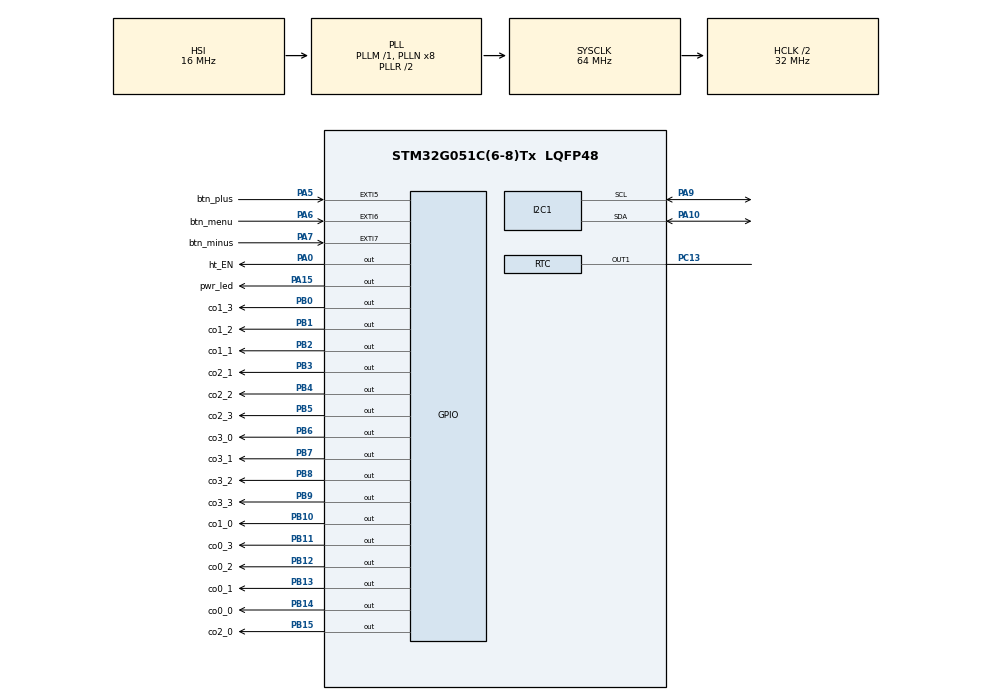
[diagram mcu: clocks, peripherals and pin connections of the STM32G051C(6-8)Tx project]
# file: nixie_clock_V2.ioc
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I2C1.Timing=0x00B07CB4
Mcu.Family=STM32G0
Mcu.Name=STM32G051C(6-8)Tx
Mcu.Package=LQFP48
NVIC.EXTI4_15_IRQn=true\:0\:0\:false\:false\:true\:true\:true\:true
NVIC.RTC_TAMP_IRQn=true\:0\:0\:false\:false\:true\:true\:true\:true
PA0.GPIO_Label=ht_EN
PA0.Signal=GPIO_Output
PA10.Mode=I2C
PA10.Signal=I2C1_SDA
PA15.GPIO_Label=pwr_led
PA15.PinState=GPIO_PIN_SET
PA15.Signal=GPIO_Output
PA5.GPIO_Label=btn_plus
PA5.GPIO_ModeDefaultEXTI=GPIO_MODE_IT_FALLING
PA5.Signal=GPXTI5
PA6.GPIO_Label=btn_menu
PA6.GPIO_ModeDefaultEXTI=GPIO_MODE_IT_FALLING
PA6.Signal=GPXTI6
PA7.GPIO_Label=btn_minus
PA7.GPIO_ModeDefaultEXTI=GPIO_MODE_IT_FALLING
PA7.Signal=GPXTI7
PA9.Mode=I2C
PA9.Signal=I2C1_SCL
PB0.GPIO_Label=co1_3
PB0.GPIO_ModeDefaultOutputPP=GPIO_MODE_OUTPUT_PP
PB0.GPIO_PuPd=GPIO_NOPULL
PB0.GPIO_Speed=GPIO_SPEED_FREQ_LOW
PB0.PinState=GPIO_PIN_RESET
PB0.Signal=GPIO_Output
PB1.GPIO_Label=co1_2
PB1.GPIO_ModeDefaultOutputPP=GPIO_MODE_OUTPUT_PP
PB1.GPIO_PuPd=GPIO_NOPULL
PB1.GPIO_Speed=GPIO_SPEED_FREQ_LOW
PB1.PinState=GPIO_PIN_RESET
PB1.Signal=GPIO_Output
PB10.GPIO_Label=co1_0
PB10.GPIO_ModeDefaultOutputPP=GPIO_MODE_OUTPUT_PP
PB10.GPIO_PuPd=GPIO_NOPULL
PB10.GPIO_Speed=GPIO_SPEED_FREQ_LOW
PB10.PinState=GPIO_PIN_RESET
PB10.Signal=GPIO_Output
PB11.GPIO_Label=co0_3
PB11.GPIO_ModeDefaultOutputPP=GPIO_MODE_OUTPUT_PP
PB11.GPIO_PuPd=GPIO_NOPULL
PB11.GPIO_Speed=GPIO_SPEED_FREQ_LOW
PB11.PinState=GPIO_PIN_RESET
PB11.Signal=GPIO_Output
PB12.GPIO_Label=co0_2
PB12.GPIO_ModeDefaultOutputPP=GPIO_MODE_OUTPUT_PP
PB12.GPIO_PuPd=GPIO_NOPULL
PB12.GPIO_Speed=GPIO_SPEED_FREQ_LOW
PB12.PinState=GPIO_PIN_RESET
PB12.Signal=GPIO_Output
PB13.GPIO_Label=co0_1
PB13.GPIO_ModeDefaultOutputPP=GPIO_MODE_OUTPUT_PP
PB13.GPIO_PuPd=GPIO_NOPULL
PB13.GPIO_Speed=GPIO_SPEED_FREQ_LOW
PB13.PinState=GPIO_PIN_RESET
PB13.Signal=GPIO_Output
PB14.GPIO_Label=co0_0
PB14.GPIO_ModeDefaultOutputPP=GPIO_MODE_OUTPUT_PP
PB14.GPIO_PuPd=GPIO_NOPULL
PB14.GPIO_Speed=GPIO_SPEED_FREQ_LOW
PB14.PinState=GPIO_PIN_RESET
PB14.Signal=GPIO_Output
PB15.GPIO_Label=co2_0
PB15.GPIO_ModeDefaultOutputPP=GPIO_MODE_OUTPUT_PP
PB15.GPIO_PuPd=GPIO_NOPULL
PB15.GPIO_Speed=GPIO_SPEED_FREQ_LOW
PB15.PinState=GPIO_PIN_RESET
PB15.Signal=GPIO_Output
PB2.GPIO_Label=co1_1
PB2.GPIO_ModeDefaultOutputPP=GPIO_MODE_OUTPUT_PP
PB2.GPIO_PuPd=GPIO_NOPULL
PB2.GPIO_Speed=GPIO_SPEED_FREQ_LOW
PB2.PinState=GPIO_PIN_RESET
PB2.Signal=GPIO_Output
PB3.GPIO_Label=co2_1
PB3.GPIO_ModeDefaultOutputPP=GPIO_MODE_OUTPUT_PP
PB3.GPIO_PuPd=GPIO_NOPULL
PB3.GPIO_Speed=GPIO_SPEED_FREQ_LOW
PB3.PinState=GPIO_PIN_RESET
PB3.Signal=GPIO_Output
PB4.GPIO_Label=co2_2
PB4.GPIO_ModeDefaultOutputPP=GPIO_MODE_OUTPUT_PP
PB4.GPIO_PuPd=GPIO_NOPULL
PB4.GPIO_Speed=GPIO_SPEED_FREQ_LOW
PB4.PinState=GPIO_PIN_RESET
PB4.Signal=GPIO_Output
PB5.GPIO_Label=co2_3
PB5.GPIO_ModeDefaultOutputPP=GPIO_MODE_OUTPUT_PP
PB5.GPIO_PuPd=GPIO_NOPULL
PB5.GPIO_Speed=GPIO_SPEED_FREQ_LOW
PB5.PinState=GPIO_PIN_RESET
PB5.Signal=GPIO_Output
PB6.GPIO_Label=co3_0
PB6.GPIO_ModeDefaultOutputPP=GPIO_MODE_OUTPUT_PP
PB6.GPIO_PuPd=GPIO_NOPULL
PB6.GPIO_Speed=GPIO_SPEED_FREQ_LOW
PB6.PinState=GPIO_PIN_RESET
PB6.Signal=GPIO_Output
PB7.GPIO_Label=co3_1
PB7.GPIO_ModeDefaultOutputPP=GPIO_MODE_OUTPUT_PP
PB7.GPIO_PuPd=GPIO_NOPULL
PB7.GPIO_Speed=GPIO_SPEED_FREQ_LOW
PB7.PinState=GPIO_PIN_RESET
PB7.Signal=GPIO_Output
PB8.GPIO_Label=co3_2
PB8.GPIO_ModeDefaultOutputPP=GPIO_MODE_OUTPUT_PP
PB8.GPIO_PuPd=GPIO_NOPULL
PB8.GPIO_Speed=GPIO_SPEED_FREQ_LOW
PB8.PinState=GPIO_PIN_RESET
PB8.Signal=GPIO_Output
PB9.GPIO_Label=co3_3
PB9.GPIO_ModeDefaultOutputPP=GPIO_MODE_OUTPUT_PP
PB9.GPIO_PuPd=GPIO_NOPULL
PB9.GPIO_Speed=GPIO_SPEED_FREQ_LOW
PB9.PinState=GPIO_PIN_RESET
PB9.Signal=GPIO_Output
PC13.Mode=Calibration_1Hz
PC13.Signal=RTC_OUT1
PC14-OSC32_IN\ (PC14).Mode=LSE-External-Oscillator
PC14-OSC32_IN\ (PC14).Signal=RCC_OSC32_IN
PC15-OSC32_OUT\ (PC15).Mode=LSE-External-Oscillator
PC15-OSC32_OUT\ (PC15).Signal=RCC_OSC32_OUT
ProjectManager.HeapSize=0x200
ProjectManager.StackSize=0x400
ProjectManager.TargetToolchain=CMake
RCC.ADCFreq_Value=64000000
RCC.AHBCLKDivider=RCC_SYSCLK_DIV2
RCC.AHBFreq_Value=32000000
RCC.CortexFreq_Value=32000000
RCC.EXTERNAL_CLOCK_VALUE=48000
RCC.HCLKFreq_Value=32000000
RCC.HSE_VALUE=8000000
RCC.HSI_VALUE=16000000
RCC.RTCClockSelection=RCC_RTCCLKSOURCE_LSE
RCC.SYSCLKFreq_VALUE=64000000
RCC.SYSCLKSource=RCC_SYSCLKSOURCE_PLLCLK
RCC.VCOOutputFreq_Value=128000000
RTC.Alarm-Alarm\ A=RTC_ALARM_A
RTC.Date=15
RTC.DayLightSaving=RTC_DAYLIGHTSAVING_ADD1H
RTC.Hours=14
RTC.Minutes=10
RTC.Month=RTC_MONTH_OCTOBER
RTC.WakeUpClock-WakeUp=RTC_WAKEUPCLOCK_CK_SPRE_16BITS
RTC.WakeUpCounter-WakeUp=1
RTC.WeekDay=RTC_WEEKDAY_WEDNESDAY
VP_RTC_VS_RTC_Activate.Mode=RTC_Enabled
VP_RTC_VS_RTC_Alarm_A_Intern.Mode=Alarm A
VP_RTC_VS_RTC_Calendar.Mode=RTC_Calendar
VP_RTC_VS_RTC_WakeUp_intern.Mode=WakeUp
VP_SYS_VS_DBSignals.Mode=DisableDeadBatterySignals
board=custom

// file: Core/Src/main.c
/* USER CODE BEGIN Header */
/**
  ******************************************************************************
  * @file           : main.c
  * @brief          : Main program body
  ******************************************************************************
  * @attention
  *
  * Copyright (c) 2025 STMicroelectronics.
  * All rights reserved.
  *
  * This software is licensed under terms that can be found in the LICENSE file
  * in the root directory of this software component.
  * If no LICENSE file comes with this software, it is provided AS-IS.
  *
  ******************************************************************************
  */
/* USER CODE END Header */
#include "main.h"

/* USER CODE BEGIN Includes */
#include "ssd1306_fonts.h"
#include "stm32g0xx_hal.h"
#include "stm32g0xx_hal_def.h"
#include "stm32g0xx_hal_gpio.h"
#include "stm32g0xx_hal_rtc.h"
#include "stm32g0xx_hal_rtc_ex.h"
#include <stdint.h>
#include "stdio.h"
#include "ssd1306.h"
/* USER CODE END Includes */

/* USER CODE BEGIN PM */

#define DISPLAY_TIME_DATE_X_OFFSET 42
#define DISPLAY_TIME_Y_OFFSET       0
#define DISPLAY_DATE_Y_OFFSET      11
#define DISPLAY_MISC_Y_OFFSET      22
#define DISPLAY_MISC_X_OFFSET     112

/**
 * These should only be used one time at the first programming of the mcu. When you do have to manually set the time, just
 * put the right data here and change the RANDOM_SEED_OFFSET to something diffrent than the current value (16bit)
 */
#define RANDOM_SEED_UPDATE 0x2344

#define CURRENT_TIME_HOURS   17
#define CURRENT_TIME_MINUTES  4
#define CURRENT_TIME_SECONDS  0

#define CURRENT_DATE_YEAR    25
#define CURRENT_DATE_MONTH   10
#define CURRENT_DATE_DAY     15
#define CURRENT_DATE_WEEKDAY  3

#define DISPLAY_MENU_RESET_TIME 1000

#define set 1
#define true 1
#define isSet 1
#define isPressed 1

#define reset 0
#define false 0
#define isNotSet 0
#define isNotPressed 0
/* USER CODE END PM */

I2C_HandleTypeDef hi2c1;

RTC_HandleTypeDef hrtc;

/* USER CODE BEGIN PV */
volatile uint8_t update_flag = isNotSet;

/**
 * Value of the button being pressed.
 * 1: MINUS
 * 2: MENU
 * 3: PLUS
 */
volatile int8_t btn_flag = 0;
uint8_t btn_pressed_flag = isNotPressed;

/**
 * Char arrays to use strings directly on oled, could be omitted on final device.
 */
char timeData[15];
char dateData[15];

/**
 * DataDigital struct to hold digital values of the time from RTC
 */
struct time_date_DataDigital {
  uint8_t hours, minutes, seconds;

  uint8_t day, weekday, month, year;
} TD_data;

/**
 * main counter for getTick function
 */
uint32_t start_ms_counter = 0;

uint8_t error_count = 0;
/* USER CODE END PV */

void SystemClock_Config(void);
static void MX_GPIO_Init(void);
static void MX_I2C1_Init(void);
static void MX_RTC_Init(void);
/* USER CODE BEGIN PFP */

HAL_StatusTypeDef setTime(uint8_t hour, uint8_t minute, uint8_t second);
HAL_StatusTypeDef setDate(uint8_t year, uint8_t month, uint8_t weekday, uint8_t date);
HAL_StatusTypeDef getTimeDate(char* time, char* date, struct time_date_DataDigital* dTime);

void ssd1306_writeTime(char* time);
void ssd1306_writeDate(char* date);
void ssd1306_writeTimeDate(char* time, char* date);
void ssd1306_writeMisc(int8_t data);
/* USER CODE END PFP */

int main(void)
{

  /* MCU Configuration--------------------------------------------------------*/

  /* Reset of all peripherals, Initializes the Flash interface and the Systick. */
  HAL_Init();

  /* Configure the system clock */
  SystemClock_Config();

  /* Initialize all configured peripherals */
  MX_GPIO_Init();
  MX_I2C1_Init();
  MX_RTC_Init();
  /* USER CODE BEGIN 2 */

  //Initialize the RTC
  HAL_RTC_Init(&hrtc);

  /**
   * If the random number stored in the backup register is diffrent from the current value, its not updating the Time and Date.
   * Seed, Time and Date are stored in makros
   */
   if(HAL_RTCEx_BKUPRead(&hrtc, RTC_BKP_DR1) != RANDOM_SEED_UPDATE) {
    setTime(CURRENT_TIME_HOURS, CURRENT_TIME_MINUTES, CURRENT_TIME_SECONDS);
    setDate(CURRENT_DATE_YEAR, CURRENT_DATE_MONTH, CURRENT_DATE_WEEKDAY, CURRENT_DATE_DAY);
  }

  //Try 10 times or till a HAL_OK is retrieved to get the time from RTC
  if(getTimeDate(timeData, dateData, &TD_data) != HAL_OK) {
    HAL_StatusTypeDef _Status = HAL_ERROR;
    uint8_t tries = 0;
    while((_Status == HAL_ERROR) || (tries <= 10)) {
      _Status = getTimeDate(timeData, dateData, &TD_data);
      tries++;
    }
  }

  /**
   * Constructor for the basic oled menu with predeceeding welcome message
   */
  ssd1306_Init();
  ssd1306_SetCursor(10, 10);
  ssd1306_WriteString("Nixie Clock V2", Font_7x10, White);
  ssd1306_UpdateScreen();
  HAL_Delay(500);
  ssd1306_Fill(Black);
  ssd1306_SetCursor(0, 0);
  ssd1306_WriteString("Time: ", Font_7x10, White);
  ssd1306_writeTime(timeData);
  ssd1306_SetCursor(0, 11);
  ssd1306_WriteString("Date: ", Font_7x10, White);
  ssd1306_writeDate(dateData);
  ssd1306_SetCursor(0, 22);
  ssd1306_WriteString("Button pressed: ", Font_7x10, White);
  ssd1306_writeMisc(0);
  ssd1306_UpdateScreen();

  /* USER CODE END 2 */

  /* Infinite loop */
  /* USER CODE BEGIN WHILE */
  while (1)
  {
    if(update_flag == isSet) { //flag set by interrupt by RTC on 1Hz

      getTimeDate(timeData, dateData, &TD_data);      //Get tiome from RTC registers
      ssd1306_writeTimeDate(timeData, dateData);

      update_flag = reset; //reset update flag
    }

    /**
     * Main switch case for the buttons
     */
    if(btn_flag != isNotPressed) {
      ssd1306_writeMisc(btn_flag);

      switch (btn_flag) {
        case 2:

          HAL_GPIO_TogglePin(ht_EN_GPIO_Port, ht_EN_Pin);
          break;

        default:
          break;
      }

      start_ms_counter = HAL_GetTick();
      btn_pressed_flag = isPressed;
      btn_flag = false;
    }

    /**
     * Reset button number after some time (defined in DISPLAY_MENU_RESET_TIME)
     */
    if(btn_pressed_flag == isPressed) {

      if((HAL_GetTick()-start_ms_counter) > DISPLAY_MENU_RESET_TIME) {
        ssd1306_writeMisc(0);
        btn_pressed_flag = isNotPressed;
      }
    }

    /**
     * Update Nixies, they dont have seconds!
     */
    if(TD_data.seconds == 0) {

    }
    /* USER CODE END WHILE */

  }
}

void SystemClock_Config(void)
{
  RCC_OscInitTypeDef RCC_OscInitStruct = {0};
  RCC_ClkInitTypeDef RCC_ClkInitStruct = {0};

  /** Configure the main internal regulator output voltage
  */
  HAL_PWREx_ControlVoltageScaling(PWR_REGULATOR_VOLTAGE_SCALE1);

  /** Configure LSE Drive Capability
  */
  HAL_PWR_EnableBkUpAccess();
  __HAL_RCC_LSEDRIVE_CONFIG(RCC_LSEDRIVE_LOW);

  /** Initializes the RCC Oscillators according to the specified parameters
  * in the RCC_OscInitTypeDef structure.
  */
  RCC_OscInitStruct.OscillatorType = RCC_OSCILLATORTYPE_HSI|RCC_OSCILLATORTYPE_LSE;
  RCC_OscInitStruct.LSEState = RCC_LSE_ON;
  RCC_OscInitStruct.HSIState = RCC_HSI_ON;
  RCC_OscInitStruct.HSIDiv = RCC_HSI_DIV1;
  RCC_OscInitStruct.HSICalibrationValue = RCC_HSICALIBRATION_DEFAULT;
  RCC_OscInitStruct.PLL.PLLState = RCC_PLL_ON;
  RCC_OscInitStruct.PLL.PLLSource = RCC_PLLSOURCE_HSI;
  RCC_OscInitStruct.PLL.PLLM = RCC_PLLM_DIV1;
  RCC_OscInitStruct.PLL.PLLN = 8;
  RCC_OscInitStruct.PLL.PLLP = RCC_PLLP_DIV2;
  RCC_OscInitStruct.PLL.PLLQ = RCC_PLLQ_DIV2;
  RCC_OscInitStruct.PLL.PLLR = RCC_PLLR_DIV2;
  if (HAL_RCC_OscConfig(&RCC_OscInitStruct) != HAL_OK)
  {
    Error_Handler();
  }

  /** Initializes the CPU, AHB and APB buses clocks
  */
  RCC_ClkInitStruct.ClockType = RCC_CLOCKTYPE_HCLK|RCC_CLOCKTYPE_SYSCLK
                              |RCC_CLOCKTYPE_PCLK1;
  RCC_ClkInitStruct.SYSCLKSource = RCC_SYSCLKSOURCE_PLLCLK;
  RCC_ClkInitStruct.AHBCLKDivider = RCC_SYSCLK_DIV2;
  RCC_ClkInitStruct.APB1CLKDivider = RCC_HCLK_DIV1;

  if (HAL_RCC_ClockConfig(&RCC_ClkInitStruct, FLASH_LATENCY_1) != HAL_OK)
  {
    Error_Handler();
  }
}

static void MX_I2C1_Init(void)
{

  hi2c1.Instance = I2C1;
  hi2c1.Init.Timing = 0x00B07CB4;
  hi2c1.Init.OwnAddress1 = 0;
  hi2c1.Init.AddressingMode = I2C_ADDRESSINGMODE_7BIT;
  hi2c1.Init.DualAddressMode = I2C_DUALADDRESS_DISABLE;
  hi2c1.Init.OwnAddress2 = 0;
  hi2c1.Init.OwnAddress2Masks = I2C_OA2_NOMASK;
  hi2c1.Init.GeneralCallMode = I2C_GENERALCALL_DISABLE;
  hi2c1.Init.NoStretchMode = I2C_NOSTRETCH_DISABLE;
  if (HAL_I2C_Init(&hi2c1) != HAL_OK)
  {
    Error_Handler();
  }

  /** Configure Analogue filter
  */
  if (HAL_I2CEx_ConfigAnalogFilter(&hi2c1, I2C_ANALOGFILTER_ENABLE) != HAL_OK)
  {
    Error_Handler();
  }

  /** Configure Digital filter
  */
  if (HAL_I2CEx_ConfigDigitalFilter(&hi2c1, 0) != HAL_OK)
  {
    Error_Handler();
  }

}

static void MX_RTC_Init(void)
{

  RTC_AlarmTypeDef sAlarm = {0};

  /** Initialize RTC Only
  */
  hrtc.Instance = RTC;
  hrtc.Init.HourFormat = RTC_HOURFORMAT_24;
  hrtc.Init.AsynchPrediv = 127;
  hrtc.Init.SynchPrediv = 255;
  hrtc.Init.OutPut = RTC_OUTPUT_DISABLE;
  hrtc.Init.OutPutRemap = RTC_OUTPUT_REMAP_NONE;
  hrtc.Init.OutPutPolarity = RTC_OUTPUT_POLARITY_HIGH;
  hrtc.Init.OutPutType = RTC_OUTPUT_TYPE_OPENDRAIN;
  hrtc.Init.OutPutPullUp = RTC_OUTPUT_PULLUP_NONE;
  if (HAL_RTC_Init(&hrtc) != HAL_OK)
  {
    Error_Handler();
  }

  /** Initialize RTC and set the Time and Date

  sTime.Hours = 0x14;
  sTime.Minutes = 0x10;
  sTime.Seconds = 0x0;
  sTime.SubSeconds = 0x0;
  sTime.DayLightSaving = RTC_DAYLIGHTSAVING_ADD1H;
  sTime.StoreOperation = RTC_STOREOPERATION_RESET;
  if (HAL_RTC_SetTime(&hrtc, &sTime, RTC_FORMAT_BCD) != HAL_OK)
  {
    Error_Handler();
  }
  sDate.WeekDay = RTC_WEEKDAY_WEDNESDAY;
  sDate.Month = RTC_MONTH_OCTOBER;
  sDate.Date = 0x15;
  sDate.Year = 0x0;

  if (HAL_RTC_SetDate(&hrtc, &sDate, RTC_FORMAT_BCD) != HAL_OK)
  {
    Error_Handler();
  }
  */
  /** Enable the Alarm A
  */
  sAlarm.AlarmTime.Hours = 0x0;
  sAlarm.AlarmTime.Minutes = 0x0;
  sAlarm.AlarmTime.Seconds = 0x0;
  sAlarm.AlarmTime.SubSeconds = 0x0;
  sAlarm.AlarmTime.DayLightSaving = RTC_DAYLIGHTSAVING_ADD1H;
  sAlarm.AlarmTime.StoreOperation = RTC_STOREOPERATION_RESET;
  sAlarm.AlarmMask = RTC_ALARMMASK_NONE;
  sAlarm.AlarmSubSecondMask = RTC_ALARMSUBSECONDMASK_ALL;
  sAlarm.AlarmDateWeekDaySel = RTC_ALARMDATEWEEKDAYSEL_DATE;
  sAlarm.AlarmDateWeekDay = 0x1;
  sAlarm.Alarm = RTC_ALARM_A;
  if (HAL_RTC_SetAlarm_IT(&hrtc, &sAlarm, RTC_FORMAT_BCD) != HAL_OK)
  {
    Error_Handler();
  }

  /** Enable the WakeUp
  */
  if (HAL_RTCEx_SetWakeUpTimer_IT(&hrtc, 0, RTC_WAKEUPCLOCK_CK_SPRE_16BITS) != HAL_OK)
  {
    Error_Handler();
  }

  /** Enable Calibration
  */
  if (HAL_RTCEx_SetCalibrationOutPut(&hrtc, RTC_CALIBOUTPUT_1HZ) != HAL_OK)
  {
    Error_Handler();
  }

}

static void MX_GPIO_Init(void)
{
  GPIO_InitTypeDef GPIO_InitStruct = {0};

  /* GPIO Ports Clock Enable */
  __HAL_RCC_GPIOC_CLK_ENABLE();
  __HAL_RCC_GPIOA_CLK_ENABLE();
  __HAL_RCC_GPIOB_CLK_ENABLE();

  /*Configure GPIO pin Output Level */
  HAL_GPIO_WritePin(ht_EN_GPIO_Port, ht_EN_Pin, GPIO_PIN_SET);

  /*Configure GPIO pin Output Level */
  HAL_GPIO_WritePin(GPIOB, co1_3_Pin|co1_2_Pin|co1_1_Pin|co1_0_Pin
                          |co0_3_Pin|co0_2_Pin|co0_1_Pin|co0_0_Pin
                          |co2_0_Pin|co2_1_Pin|co2_2_Pin|co2_3_Pin
                          |co3_0_Pin|co3_1_Pin|co3_2_Pin|co3_3_Pin, GPIO_PIN_RESET);

  /*Configure GPIO pin Output Level */
  HAL_GPIO_WritePin(pwr_led_GPIO_Port, pwr_led_Pin, GPIO_PIN_SET);

  /*Configure GPIO pins : ht_EN_Pin pwr_led_Pin */
  GPIO_InitStruct.Pin = ht_EN_Pin|pwr_led_Pin;
  GPIO_InitStruct.Mode = GPIO_MODE_OUTPUT_PP;
  GPIO_InitStruct.Pull = GPIO_NOPULL;
  GPIO_InitStruct.Speed = GPIO_SPEED_FREQ_LOW;
  HAL_GPIO_Init(GPIOA, &GPIO_InitStruct);

  /*Configure GPIO pins : btn_plus_Pin btn_menu_Pin btn_minus_Pin */
  GPIO_InitStruct.Pin = btn_plus_Pin|btn_menu_Pin|btn_minus_Pin;
  GPIO_InitStruct.Mode = GPIO_MODE_IT_FALLING;
  GPIO_InitStruct.Pull = GPIO_NOPULL;
  HAL_GPIO_Init(GPIOA, &GPIO_InitStruct);

  /*Configure GPIO pins : co1_3_Pin co1_2_Pin co1_1_Pin co1_0_Pin
                           co0_3_Pin co0_2_Pin co0_1_Pin co0_0_Pin
                           co2_0_Pin co2_1_Pin co2_2_Pin co2_3_Pin
                           co3_0_Pin co3_1_Pin co3_2_Pin co3_3_Pin */
  GPIO_InitStruct.Pin = co1_3_Pin|co1_2_Pin|co1_1_Pin|co1_0_Pin
                          |co0_3_Pin|co0_2_Pin|co0_1_Pin|co0_0_Pin
                          |co2_0_Pin|co2_1_Pin|co2_2_Pin|co2_3_Pin
                          |co3_0_Pin|co3_1_Pin|co3_2_Pin|co3_3_Pin;
  GPIO_InitStruct.Mode = GPIO_MODE_OUTPUT_PP;
  GPIO_InitStruct.Pull = GPIO_NOPULL;
  GPIO_InitStruct.Speed = GPIO_SPEED_FREQ_LOW;
  HAL_GPIO_Init(GPIOB, &GPIO_InitStruct);

  /* EXTI interrupt init*/
  HAL_NVIC_SetPriority(EXTI4_15_IRQn, 0, 0);
  HAL_NVIC_EnableIRQ(EXTI4_15_IRQn);

}

/* USER CODE BEGIN 4 */

/**
 * Sets the Time of the RTC. IMPORTANT: When regenerating the code through CubeMX comment out the time setting in the predefined function.
 * This is to only update the time when needed and not every time you program the MCU. The check is made through the Backup register DR1, to which a
 * random number is written. Only update the time when this number is not the same on startup!
 */
HAL_StatusTypeDef setTime(uint8_t hour, uint8_t minute, uint8_t second) {
  RTC_TimeTypeDef sTime = {0};
  sTime.Hours = hour;
  sTime.Minutes = minute;
  sTime.Seconds = second;
  sTime.SubSeconds = 0x0;
  sTime.DayLightSaving = RTC_DAYLIGHTSAVING_NONE;
  sTime.StoreOperation = RTC_STOREOPERATION_RESET;

  if (HAL_RTC_SetTime(&hrtc, &sTime, RTC_FORMAT_BIN) != HAL_OK)
  {
    return HAL_ERROR;
  }
  return HAL_OK;
}

/**
 * Sets the Date of the RTC. IMPORTANT: When regenerating the code through CubeMX comment out the date setting in the predefined function.
 * This is to only update the date when needed and not every time you program the MCU. The check is made through the Backup register DR1, to which a
 * random number is written. Only update the Date when this number is not the same on startup!
 */
HAL_StatusTypeDef setDate(uint8_t year, uint8_t month, uint8_t weekday, uint8_t date) { //weekday->Monday = 1, date->which day in month (0-31)
  RTC_DateTypeDef sDate = {0};
  sDate.WeekDay = weekday;
  sDate.Month = month;
  sDate.Date = date;
  sDate.Year = year;

  if (HAL_RTC_SetDate(&hrtc, &sDate, RTC_FORMAT_BIN) != HAL_OK)
  {
    return HAL_ERROR;
  }

  HAL_RTCEx_BKUPWrite(&hrtc, RTC_BKP_DR1, RANDOM_SEED_UPDATE);

  return HAL_OK;
}

/**
 * Function to get time and date from RTC module. IMPORTANT: Always get time and then date TOGETHER! otherwize the druids of the forest will hunt you
 * Creates strings in predefined vhar arrays to directly print to an oled.
 * TODO: put time and date in an integer struct to push to the nixies
 */
HAL_StatusTypeDef getTimeDate(char* time, char* date, struct time_date_DataDigital* dTime) {
  RTC_DateTypeDef gDate;
  RTC_TimeTypeDef gTime;
  uint8_t _error_count = 0;

  //Get current time
  if(HAL_RTC_GetTime(&hrtc, &gTime, RTC_FORMAT_BIN) != HAL_OK) _error_count++;

  //Get current date
  if(HAL_RTC_GetDate(&hrtc, &gDate, RTC_FORMAT_BIN) != HAL_OK) _error_count++;

  dTime->hours = gTime.Hours;
  dTime->minutes = gTime.Minutes;
  dTime->seconds = gTime.Seconds;

  dTime->day = gDate.Date;
  dTime->weekday = gDate.WeekDay;
  dTime->month = gDate.Month;
  dTime->year = gDate.Year;

  /* Display time Format: hh:mm:ss */
  sprintf(time,"%02d:%02d:%02d",gTime.Hours, gTime.Minutes, gTime.Seconds);

  /* Display date Format: dd-mm-yyyy */
  sprintf(date,"%02d-%02d-%2d",gDate.Date, gDate.Month, 2000 + gDate.Year);

  if(_error_count != 0) return HAL_ERROR;
  return HAL_OK;
}

/**
 * Combined oled writing function
 */
void ssd1306_writeTimeDate(char* time, char* date) {
  ssd1306_SetCursor(DISPLAY_TIME_DATE_X_OFFSET, DISPLAY_TIME_Y_OFFSET);
  ssd1306_WriteString(time, Font_7x10, White);
  ssd1306_UpdateScreen();

  ssd1306_SetCursor(DISPLAY_TIME_DATE_X_OFFSET, DISPLAY_DATE_Y_OFFSET);
  ssd1306_WriteString(date, Font_7x10, White);
  ssd1306_UpdateScreen();
}

/**
 * Simplified function to display the date on an oled screen.
 * Cursor offsets are stored in makros
 */
void ssd1306_writeTime(char* time) {
  ssd1306_SetCursor(DISPLAY_TIME_DATE_X_OFFSET, DISPLAY_TIME_Y_OFFSET);
  ssd1306_WriteString(time, Font_7x10, White);
  ssd1306_UpdateScreen();
}

/**
 * Simplified function to display the time on an oled screen.
 * Cursor offsets are stored in makros
 */
void ssd1306_writeDate(char* date) {
  ssd1306_SetCursor(DISPLAY_TIME_DATE_X_OFFSET, DISPLAY_DATE_Y_OFFSET);
  ssd1306_WriteString(date, Font_7x10, White);
  ssd1306_UpdateScreen();
}

void ssd1306_writeMisc(int8_t data) {
  char bufnum[2];
  sprintf(bufnum, "%d", btn_flag);
  ssd1306_SetCursor(DISPLAY_MISC_X_OFFSET, DISPLAY_MISC_Y_OFFSET);
  ssd1306_WriteString(bufnum, Font_7x10, White);
  ssd1306_UpdateScreen();
}

//Interrupt for triggering an update event every second
void HAL_RTCEx_WakeUpTimerEventCallback(RTC_HandleTypeDef *hrtc) {
  update_flag = set;
}

/**
 * Interrupt Handler for the buttons
 */
void HAL_GPIO_EXTI_Falling_Callback(uint16_t GPIO_Pin) {
  switch(GPIO_Pin) {
    case btn_plus_Pin:
      btn_flag = 3;
      break;

    case btn_minus_Pin:
      btn_flag = 1;
      break;

    case btn_menu_Pin:
      btn_flag = 2;
      break;

    default:
      break;
  }
}

/* USER CODE END 4 */

void Error_Handler(void)
{
  __disable_irq();
  while (1)
  {
  }
}
